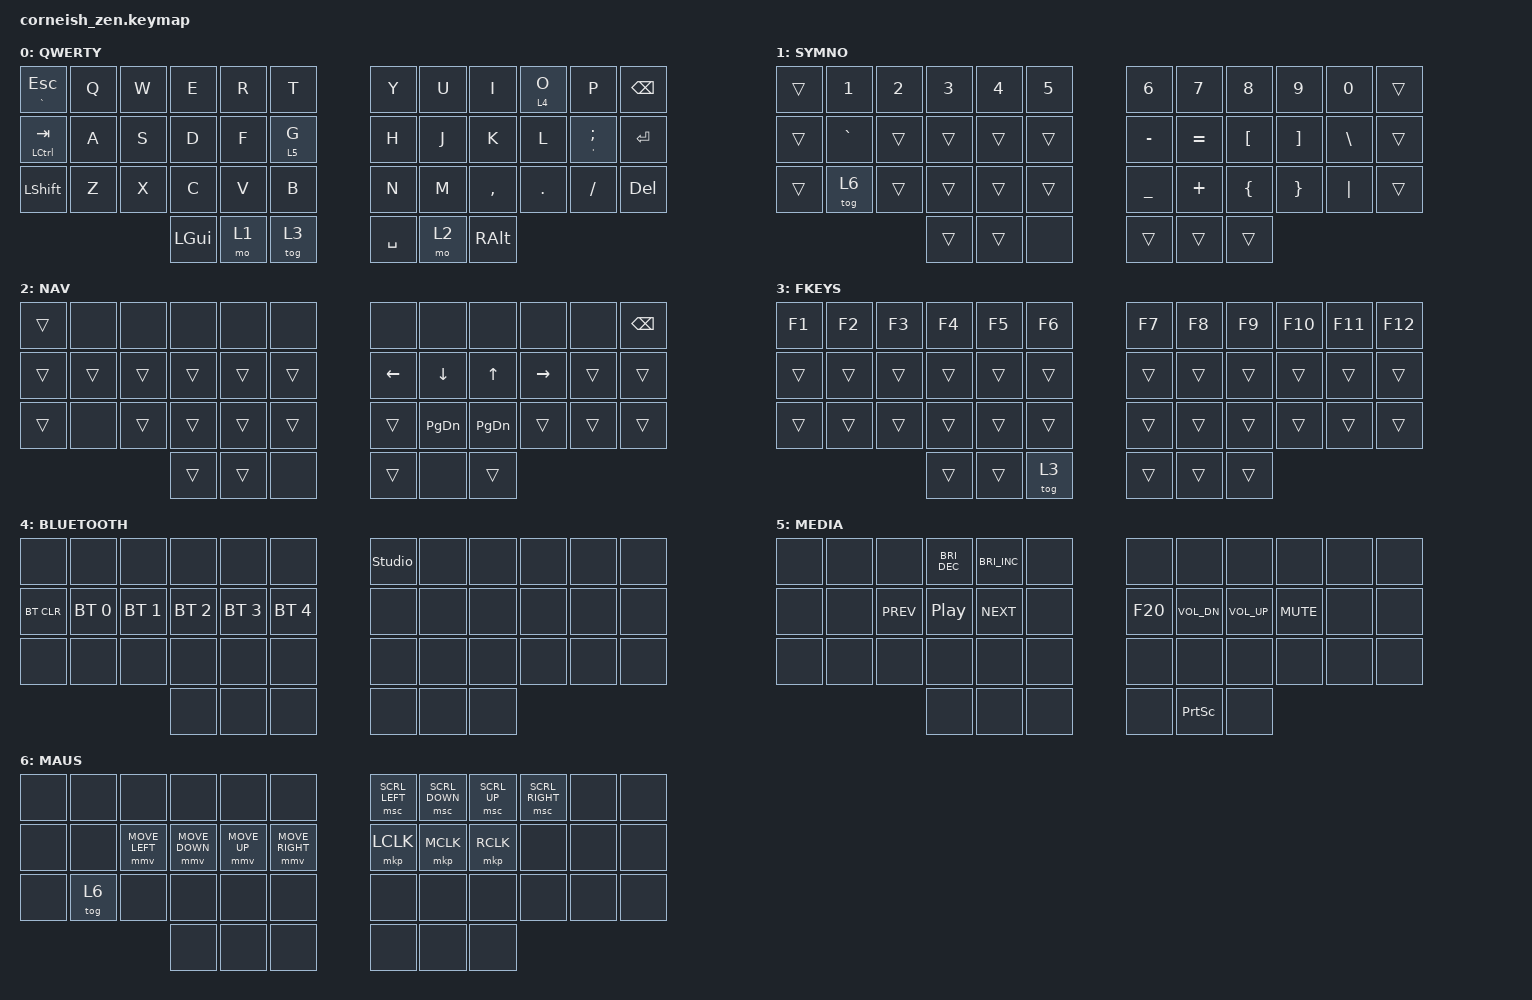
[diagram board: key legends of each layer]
/*
*
* Copyright (c) 2021 Darryl deHaan
* SPDX-License-Identifier: MIT
*
*/

#include <behaviors.dtsi>
#include <dt-bindings/zmk/bt.h>
#include <dt-bindings/zmk/keys.h>
#include <dt-bindings/zmk/pointing.h>

// Mae sure order of these matches order of layers below, otherwise numbering will be cooked
// TODO: F keys, media keys, etc
// TODO: &lt on enter key

#define DEFAULT 0
#define NAV 1
#define SYMNO 2

/ {
    keymap {
        compatible = "zmk,keymap";

        default_layer {
            label = "QWERTY";

            // --------------------------------------------------------------------------------
            // | TAB/ESC |  Q  |  W  |  E  |  R  |  T  |   |  Y  |  U   |  I  |  O  |  P  | BKSP |
            // | CTRL    |  A  |  S  |  D  |  F  |  G  |   |  H  |  J   |  K  |  L  |  ;  |  '   |
            // | SHFT    |  Z  |  X  |  C  |  V  |  B  |   |  N  |  M   |  ,  |  .  |  /  |  `   |
            //                    | GUI | LWR | SPC |   | ENT | RSE  | ALT |

            bindings = <
&mt GRAVE ESC  &kp Q  &kp W  &kp E     &kp R  &kp T      &kp Y      &kp U  &kp I      &lt 4 O  &kp P                       &kp BSPC
&mt LCTRL TAB  &kp A  &kp S  &kp D     &kp F  &lt 5 G    &kp H      &kp J  &kp K      &kp L    &mt SINGLE_QUOTE SEMICOLON  &kp ENTER
&kp LSHFT      &kp Z  &kp X  &kp C     &kp V  &kp B      &kp N      &kp M  &kp COMMA  &kp DOT  &kp FSLH                    &kp DELETE
                             &kp LGUI  &mo 1  &tog 3     &kp SPACE  &mo 2  &kp RALT
            >;
        };

        symno_layer {
            label = "SYMNO";

            // -----------------------------------------------------------------------------------------
            // | TAB/ESC |  1  |  2  |  3  |  4  |  5  |   |  6  |  7  |  8  |  9  |  0  | BKSP |
            // | CTRL    |     |     |     |     |     |   |  -  |  =  |  [  |  ]  |  \  |  ~   |
            // | SHFT    |     |     |     |     |     |   |  _  |  +  |  {  |  }  | "|" |  `   |
            //                    | GUI |     | SPC |   | ENT |     | ALT |

            bindings = <
&trans  &kp N1     &kp N2  &kp N3  &kp N4  &kp N5    &kp N6     &kp N7     &kp N8    &kp N9    &kp N0    &trans
&trans  &kp GRAVE  &trans  &trans  &trans  &trans    &kp MINUS  &kp EQUAL  &kp LBKT  &kp RBKT  &kp BSLH  &trans
&trans  &tog 6     &trans  &trans  &trans  &trans    &kp UNDER  &kp PLUS   &kp LBRC  &kp RBRC  &kp PIPE  &trans
                           &trans  &trans  &none     &trans     &trans     &trans
            >;
        };

        nav_layer {
            label = "NAV";

            // -----------------------------------------------------------------------------------------
            // | TAB/ESC |  1  |  2  |  3  |  4  |  5  |   |  6  | PG_DWN |  PG_UP  |  9  |  0  | BKSP |
            // | BTCLR   | BT1 | BT2 | BT3 | BT4 | BT5 |   | LFT | DWN    |  UP     | RGT |     |      |
            // | SHFT    |     |     |     |     |     |   |     |        |         |     |     |      |
            //                    | GUI |     | SPC |   | ENT |     | ALT |

            bindings = <
&trans  &none   &none   &none   &none   &none     &none     &none          &none          &none      &none   &kp BSPC
&trans  &trans  &trans  &trans  &trans  &trans    &kp LEFT  &kp DOWN       &kp UP         &kp RIGHT  &trans  &trans
&trans  &none   &trans  &trans  &trans  &trans    &trans    &kp PAGE_DOWN  &kp PAGE_DOWN  &trans     &trans  &trans
                        &trans  &trans  &none     &trans    &none          &trans
            >;
        };

        fkeys_layer {
            bindings = <
&kp F1  &kp F2  &kp F3  &kp F4  &kp F5  &kp F6    &kp F7  &kp F8  &kp F9  &kp F10  &kp F11  &kp F12
&trans  &trans  &trans  &trans  &trans  &trans    &trans  &trans  &trans  &trans   &trans   &trans
&trans  &trans  &trans  &trans  &trans  &trans    &trans  &trans  &trans  &trans   &trans   &trans
                        &trans  &trans  &tog 3    &trans  &trans  &trans
            >;

            label = "FKEYS";
        };

        bluetooth {
            label = "BLUETOOTH";
            bindings = <
&none       &none         &none         &none         &none         &none           &studio_unlock  &none  &none  &none  &none  &none
&bt BT_CLR  &bt BT_SEL 0  &bt BT_SEL 1  &bt BT_SEL 2  &bt BT_SEL 3  &bt BT_SEL 4    &none           &none  &none  &none  &none  &none
&none       &none         &none         &none         &none         &none           &none           &none  &none  &none  &none  &none
                                        &none         &none         &none           &none           &none  &none
            >;
        };

        media {
            bindings = <
&none  &none  &none       &kp C_BRI_DEC     &kp C_BRI_INC  &none    &none    &none            &none         &none       &none  &none
&none  &none  &kp C_PREV  &kp C_PLAY_PAUSE  &kp C_NEXT     &none    &kp F20  &kp C_VOL_DN     &kp C_VOL_UP  &kp C_MUTE  &none  &none
&none  &none  &none       &none             &none          &none    &none    &none            &none         &none       &none  &none
                          &none             &none          &none    &none    &kp PRINTSCREEN  &none
            >;

            label = "MEDIA";
        };

        MAUS {
            bindings = <
&none  &none   &none           &none           &none         &none              &msc SCRL_LEFT  &msc SCRL_DOWN  &msc SCRL_UP  &msc SCRL_RIGHT  &none  &none
&none  &none   &mmv MOVE_LEFT  &mmv MOVE_DOWN  &mmv MOVE_UP  &mmv MOVE_RIGHT    &mkp LCLK       &mkp MCLK       &mkp RCLK     &none            &none  &none
&none  &tog 6  &none           &none           &none         &none              &none           &none           &none         &none            &none  &none
                               &none           &none         &none              &none           &none           &none
            >;

            label = "MAUS";
        };
    };
};
